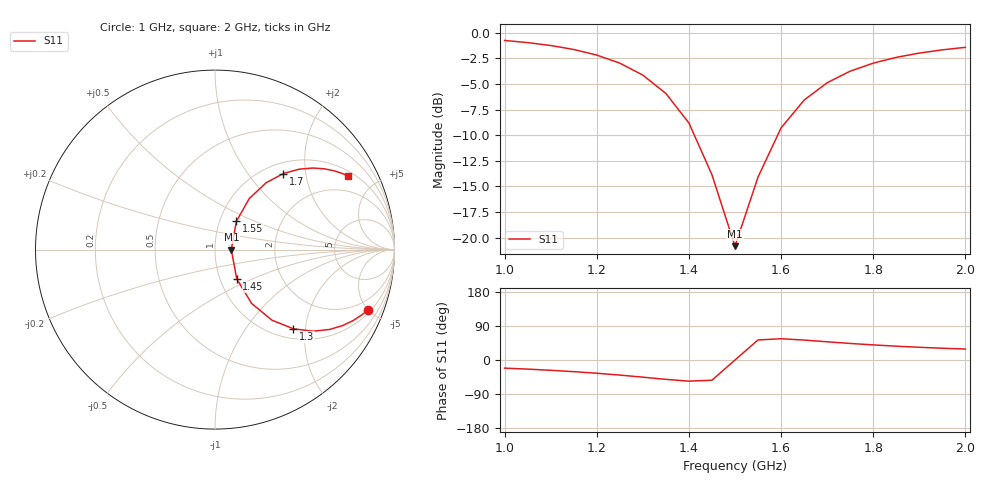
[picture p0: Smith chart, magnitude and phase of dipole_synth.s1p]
! Synthetic resonant dipole S11
! Generated for examples/python/touchstone_workflow.ipynb
! Closed-form series-RLC model: Z = R + jR*Q*(f/f0 - f0/f)
! Parameters: R = 60 ohm, Q = 5, f0 = 1.5 GHz, Z0 = 50 ohm
! Resulting |S11| dips to ~ -20.8 dB near 1.5 GHz, ~ -1 dB at band edges.
# Hz S MA R 50
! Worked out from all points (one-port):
!   21 points, 1 GHz to 2 GHz, reference 50 ohm
!   lowest |S11| = -20.8 dB at 1.5 GHz (marker M1), VSWR 1.20, Z = 60 + j0 ohm
!   |S11| at or under -10 dB: 1.412 GHz to 1.593 GHz (180.8 MHz wide, 12 % of centre)
!   S11 on the Smith chart (normalised r, x): 1 GHz: 1.20, -5.00; 1.3 GHz: 1.20, -1.72; 1.45 GHz: 1.20, -0.41; 1.55 GHz: 1.20, +0.39; 1.7 GHz: 1.20, +1.51; 2 GHz: 1.20, +3.50
1e9  0.916 -21.5
1.05e9  0.8942 -24.1
1.1e9  0.8656 -27.2
1.15e9  0.8278 -30.7
1.2e9  0.7774 -34.9
1.25e9  0.71 -39.8
1.3e9  0.6207 -45.3
1.35e9  0.5051 -51.1
1.4e9  0.3626 -55.8
1.45e9  0.2027 -53.3
1.5e9  0.09091 0.0
1.55e9  0.1975 52.9
1.6e9  0.3431 56.1
1.65e9  0.4688 52.6
1.7e9  0.5698 48.0
1.75e9  0.6488 43.7
1.8e9  0.71 39.8
1.85e9  0.7576 36.4
1.9e9  0.7949 33.5
1.95e9  0.8244 31.0
2e9  0.848 28.9
